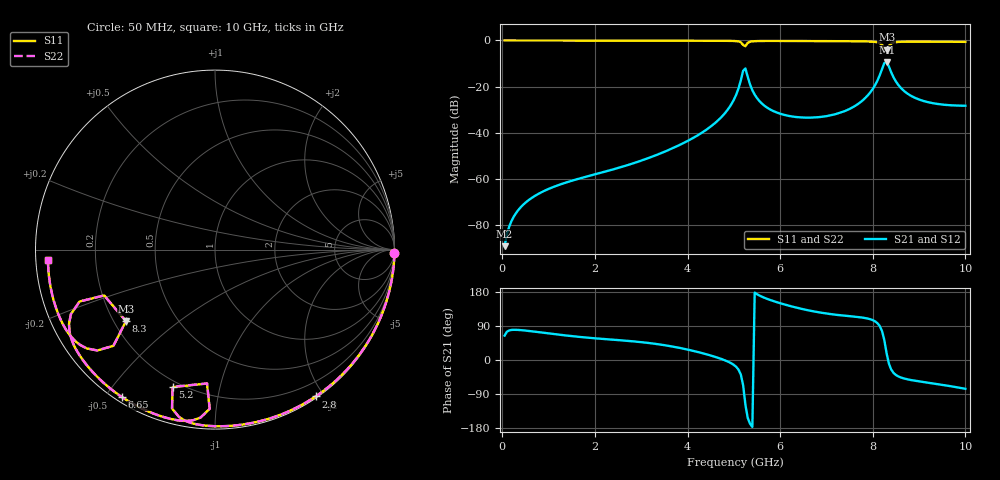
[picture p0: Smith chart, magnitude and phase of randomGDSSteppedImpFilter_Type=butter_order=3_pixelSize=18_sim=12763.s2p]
! freq	dB(S11)	phase(S11)	dB(S12)	phase(S12)
!  dB(S21)	phase(S21)	dB(S22)	phase(S22)
!S-par simulation data
#  GHz  S  DB  R 50
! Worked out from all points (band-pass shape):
!   200 points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, 50 MHz to 10 GHz, reference 50 ohm
!   highest |S21| = -9.27 dB at 8.3 GHz (marker M1); lowest = -89.0 dB at 50 MHz (marker M2)
!   |S21| within 3 dB of the highest: 5.242476 GHz to 5.252135 GHz (9.659 MHz wide, 0.184 % of centre); 8.201 GHz to 8.368 GHz (166.8 MHz wide, 2.01 % of centre)
!   lowest |S11| = -3.9 dB at 8.3 GHz (marker M3), VSWR 4.50, Z = 12.4 - j16.6 ohm
!   |S11| at or under -10 dB: nowhere
!   |S22| runs from -3.9 to 0.0 dB; largest |S21 - S12| = 0
!   S11 on the Smith chart (normalised r, x): 50 MHz: open; 2.8 GHz: 0.02, -1.90; 5.2 GHz: 0.17, -0.72; 6.65 GHz: 0.02, -0.55; 8.3 GHz: 0.25, -0.33; 10 GHz: 0.03, -0.03
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0.05  -0.00 -1.0  -88.97 64.4  -88.97 64.4  -0.00 -1.0
0.7  -0.02 -14.3  -67.27 74.8  -67.27 74.8  -0.02 -14.3
1.75  -0.04 -35.3  -59.26 59.9  -59.26 59.9  -0.04 -35.3
2.8  -0.07 -55.6  -53.32 49.5  -53.32 49.5  -0.07 -55.6
3.4  -0.09 -66.8  -48.97 41.0  -48.97 41.0  -0.09 -66.8
4.5  -0.13 -87.2  -37.24 11.9  -37.24 11.9  -0.13 -87.2
5.05  -0.29 -99.9  -23.49 -18.0  -23.49 -18.0  -0.29 -99.9
5.2  -1.92 -107.1  -13.14 -66.1  -13.14 -66.1  -1.93 -107.2
5.25  -2.53 -93.4  -12.11 -118.1  -12.11 -118.1  -2.54 -93.4
5.3  -1.03 -91.9  -15.72 -153.0  -15.72 -153.0  -1.04 -91.9
5.45  -0.30 -99.0  -23.43 177.9  -23.43 177.9  -0.30 -99.0
5.7  -0.22 -105.0  -28.80 162.2  -28.80 162.2  -0.22 -105.0
6.65  -0.25 -122.2  -33.38 130.0  -33.38 130.0  -0.25 -122.1
6.7  -0.25 -123.0  -33.34 128.8  -33.34 128.8  -0.25 -123.0
7.7  -0.37 -141.2  -27.21 113.2  -27.21 113.2  -0.37 -141.2
8.15  -1.11 -155.9  -15.07 89.7  -15.07 89.7  -1.11 -155.8
8.25  -3.51 -157.6  -9.74 52.0  -9.74 52.0  -3.50 -157.5
8.3  -3.92 -141.2  -9.27 17.1  -9.27 17.1  -3.92 -141.2
8.35  -2.17 -136.6  -11.35 -10.4  -11.35 -10.4  -2.17 -136.6
8.55  -0.63 -146.7  -19.18 -43.2  -19.18 -43.2  -0.63 -146.7
8.85  -0.50 -154.6  -24.21 -53.4  -24.21 -53.4  -0.50 -154.6
10  -0.61 -176.5  -28.22 -76.0  -28.22 -76.0  -0.61 -176.5
